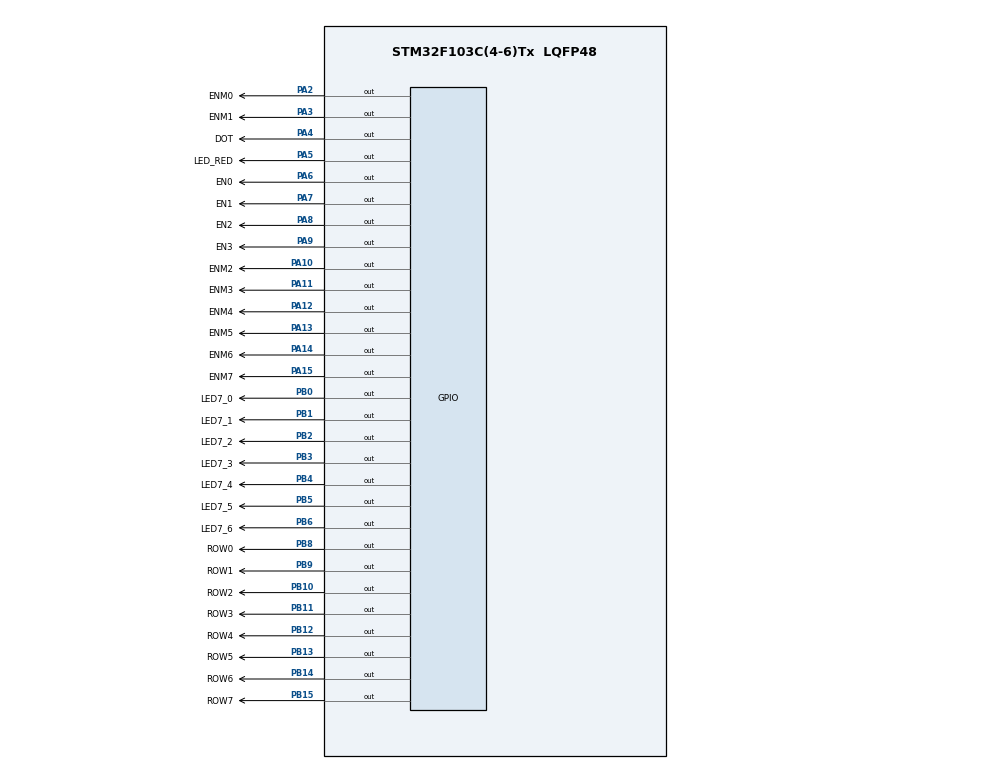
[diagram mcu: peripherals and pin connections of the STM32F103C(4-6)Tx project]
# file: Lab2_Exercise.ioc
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Mcu.Family=STM32F1
Mcu.Name=STM32F103C(4-6)Tx
Mcu.Package=LQFP48
NVIC.PriorityGroup=NVIC_PRIORITYGROUP_4
NVIC.TIM2_IRQn=true\:0\:0\:false\:false\:true\:true\:true\:true
PA10.GPIO_Label=ENM2
PA10.Signal=GPIO_Output
PA11.GPIO_Label=ENM3
PA11.Signal=GPIO_Output
PA12.GPIO_Label=ENM4
PA12.Signal=GPIO_Output
PA13.GPIO_Label=ENM5
PA13.Signal=GPIO_Output
PA14.GPIO_Label=ENM6
PA14.Signal=GPIO_Output
PA15.GPIO_Label=ENM7
PA15.Signal=GPIO_Output
PA2.GPIO_Label=ENM0
PA2.Signal=GPIO_Output
PA3.GPIO_Label=ENM1
PA3.Signal=GPIO_Output
PA4.GPIO_Label=DOT
PA4.Signal=GPIO_Output
PA5.GPIO_Label=LED_RED
PA5.Signal=GPIO_Output
PA6.GPIO_Label=EN0
PA6.Signal=GPIO_Output
PA7.GPIO_Label=EN1
PA7.Signal=GPIO_Output
PA8.GPIO_Label=EN2
PA8.Signal=GPIO_Output
PA9.GPIO_Label=EN3
PA9.Signal=GPIO_Output
PB0.GPIO_Label=LED7_0
PB0.Signal=GPIO_Output
PB1.GPIO_Label=LED7_1
PB1.Signal=GPIO_Output
PB10.GPIO_Label=ROW2
PB10.Signal=GPIO_Output
PB11.GPIO_Label=ROW3
PB11.Signal=GPIO_Output
PB12.GPIO_Label=ROW4
PB12.Signal=GPIO_Output
PB13.GPIO_Label=ROW5
PB13.Signal=GPIO_Output
PB14.GPIO_Label=ROW6
PB14.Signal=GPIO_Output
PB15.GPIO_Label=ROW7
PB15.Signal=GPIO_Output
PB2.GPIO_Label=LED7_2
PB2.Signal=GPIO_Output
PB3.GPIO_Label=LED7_3
PB3.Signal=GPIO_Output
PB4.GPIO_Label=LED7_4
PB4.Signal=GPIO_Output
PB5.GPIO_Label=LED7_5
PB5.Signal=GPIO_Output
PB6.GPIO_Label=LED7_6
PB6.Signal=GPIO_Output
PB8.GPIO_Label=ROW0
PB8.Signal=GPIO_Output
PB9.GPIO_Label=ROW1
PB9.Signal=GPIO_Output
ProjectManager.HeapSize=0x200
ProjectManager.StackSize=0x400
ProjectManager.TargetToolchain=STM32CubeIDE
RCC.APB1Freq_Value=8000000
RCC.APB2Freq_Value=8000000
TIM2.Period=9
TIM2.Prescaler=7999
VP_TIM2_VS_ClockSourceINT.Mode=Internal
board=custom

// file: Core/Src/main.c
/* USER CODE BEGIN Header */
/**
  ******************************************************************************
  * @file           : main.c
  * @brief          : Main program body
  ******************************************************************************
  * @attention
  *
  * Copyright (c) 2023 STMicroelectronics.
  * All rights reserved.
  *
  * This software is licensed under terms that can be found in the LICENSE file
  * in the root directory of this software component.
  * If no LICENSE file comes with this software, it is provided AS-IS.
  *
  ******************************************************************************
  */
/* USER CODE END Header */
#include "main.h"

/* USER CODE BEGIN Includes */
#define LED7_DURATION 25
#define DOT_DURATION 100

/* USER CODE END Includes */

TIM_HandleTypeDef htim2;

/* USER CODE BEGIN PV */
int led_test_counter = 100;
int led_test_flag = 0;
int dot_counter = DOT_DURATION;
int dot_flag = 0;
int scanning_counter = LED7_DURATION;
int scanning_flag = 0;
int led_enabled = 0;
int hour = 15, minute = 8, second = 50;

const int MAX_LED = 4;
int index_led = 0;
int led_buffer[4] = {6, 2, 8, 9};

const int MAX_LED_MATRIX = 8;
int index_led_matrix = 0;
uint8_t matrix_buffer[8] = {0x00, 0xfc, 0x12, 0x11, 0x1, 0x12, 0xfc, 0x00};
/* USER CODE END PV */

void SystemClock_Config(void);
static void MX_GPIO_Init(void);
static void MX_TIM2_Init(void);
/* USER CODE BEGIN PFP */
void display7SEG(int);
void update7SEG(int);
void updateClockBuffer();
void updateLEDMatrix(int index);
/* USER CODE END PFP */

/* USER CODE BEGIN 0 */
int timer0_counter = 0;
int timer0_flag = 0;
int TIMER_CYCLE = 10;

void setTimer0(int duration)
{
	timer0_counter = duration / TIMER_CYCLE;
	timer0_flag = 0;
}

void timer_run()
{
	if (timer0_counter > 0)
	{
		timer0_counter--;
		if (timer0_counter == 0) timer0_flag = 1;
	}
}

int timer_matrix_counter = 0;
int timer_matrix_flag = 0;
void setTimerMatrix(int duration)
{
	timer_matrix_counter = duration / TIMER_CYCLE;
	timer_matrix_flag = 0;
}

void timerMatrixRun()
{
	if (timer_matrix_counter > 0)
	{
		--timer_matrix_counter;
		if (timer_matrix_counter == 0) timer_matrix_flag = 1;
	}
}

int timer_shift_counter = 0;
int timer_shift_flag = 0;
void setTimerShift(int duration)
{
	timer_shift_counter = duration / TIMER_CYCLE;
	timer_shift_flag = 0;
}

void timerShiftRun()
{
	if (timer_shift_counter > 0)
	{
		--timer_shift_counter;
		if (timer_shift_counter == 0) timer_shift_flag = 1;
	}
}
/* USER CODE END 0 */

int main(void)
{

  /* MCU Configuration--------------------------------------------------------*/

  /* Reset of all peripherals, Initializes the Flash interface and the Systick. */
  HAL_Init();

  /* Configure the system clock */
  SystemClock_Config();

  /* Initialize all configured peripherals */
  MX_GPIO_Init();
  MX_TIM2_Init();
  /* USER CODE BEGIN 2 */
  HAL_TIM_Base_Start_IT(&htim2);
  /* USER CODE END 2 */

  /* Infinite loop */
  /* USER CODE BEGIN WHILE */
  setTimer0(1000);
  setTimerMatrix(100);
  setTimerShift(1600);
  updateClockBuffer();
  update7SEG(index_led);
  while (1)
  {
	if (timer_shift_flag == 1)
	{
		  int matrix_buffer7 = matrix_buffer[7];
		  for (int i = 6; i >= 0; --i)
		  {
			  matrix_buffer[i + 1] = matrix_buffer[i];
		  }
		  matrix_buffer[0] = matrix_buffer7;
		  setTimerShift(1600);
	}

	if (timer_matrix_flag == 1)
	{
		updateLEDMatrix(index_led_matrix);
		setTimerMatrix(100);
		++index_led_matrix;
		if (index_led_matrix >= MAX_LED_MATRIX)
		{
			index_led_matrix = 0;
		}
	}

	if (timer0_flag == 1)
	{
		++second;
		if (second >= 60)
		{
			second = 0;
			++minute;
		}
		if (minute >= 60)
		{
			minute = 0;
			++hour;
		}
		if (hour >= 24)
		{
			hour = 0;
		}
		updateClockBuffer();
		setTimer0(1000);
	}

	if (led_test_flag == 1)
	{
		led_test_flag = 0;
		led_test_counter = 100;
		HAL_GPIO_TogglePin(LED_RED_GPIO_Port, LED_RED_Pin);
	}

	if (dot_flag == 1)
	{
		dot_flag = 0;
		dot_counter = DOT_DURATION;
		HAL_GPIO_TogglePin(DOT_GPIO_Port, DOT_Pin);
	}

	if (scanning_flag == 1)
	{
		++index_led;
		if (index_led >= MAX_LED)
		{
			index_led = 0;
		}
		update7SEG(index_led);
		scanning_flag = 0;
		scanning_counter = LED7_DURATION;
	}
    /* USER CODE END WHILE */

  }
}

void SystemClock_Config(void)
{
  RCC_OscInitTypeDef RCC_OscInitStruct = {0};
  RCC_ClkInitTypeDef RCC_ClkInitStruct = {0};

  /** Initializes the RCC Oscillators according to the specified parameters
  * in the RCC_OscInitTypeDef structure.
  */
  RCC_OscInitStruct.OscillatorType = RCC_OSCILLATORTYPE_HSI;
  RCC_OscInitStruct.HSIState = RCC_HSI_ON;
  RCC_OscInitStruct.HSICalibrationValue = RCC_HSICALIBRATION_DEFAULT;
  RCC_OscInitStruct.PLL.PLLState = RCC_PLL_NONE;
  if (HAL_RCC_OscConfig(&RCC_OscInitStruct) != HAL_OK)
  {
    Error_Handler();
  }

  /** Initializes the CPU, AHB and APB buses clocks
  */
  RCC_ClkInitStruct.ClockType = RCC_CLOCKTYPE_HCLK|RCC_CLOCKTYPE_SYSCLK
                              |RCC_CLOCKTYPE_PCLK1|RCC_CLOCKTYPE_PCLK2;
  RCC_ClkInitStruct.SYSCLKSource = RCC_SYSCLKSOURCE_HSI;
  RCC_ClkInitStruct.AHBCLKDivider = RCC_SYSCLK_DIV1;
  RCC_ClkInitStruct.APB1CLKDivider = RCC_HCLK_DIV1;
  RCC_ClkInitStruct.APB2CLKDivider = RCC_HCLK_DIV1;

  if (HAL_RCC_ClockConfig(&RCC_ClkInitStruct, FLASH_LATENCY_0) != HAL_OK)
  {
    Error_Handler();
  }
}

static void MX_TIM2_Init(void)
{

  TIM_ClockConfigTypeDef sClockSourceConfig = {0};
  TIM_MasterConfigTypeDef sMasterConfig = {0};

  htim2.Instance = TIM2;
  htim2.Init.Prescaler = 7999;
  htim2.Init.CounterMode = TIM_COUNTERMODE_UP;
  htim2.Init.Period = 9;
  htim2.Init.ClockDivision = TIM_CLOCKDIVISION_DIV1;
  htim2.Init.AutoReloadPreload = TIM_AUTORELOAD_PRELOAD_DISABLE;
  if (HAL_TIM_Base_Init(&htim2) != HAL_OK)
  {
    Error_Handler();
  }
  sClockSourceConfig.ClockSource = TIM_CLOCKSOURCE_INTERNAL;
  if (HAL_TIM_ConfigClockSource(&htim2, &sClockSourceConfig) != HAL_OK)
  {
    Error_Handler();
  }
  sMasterConfig.MasterOutputTrigger = TIM_TRGO_RESET;
  sMasterConfig.MasterSlaveMode = TIM_MASTERSLAVEMODE_DISABLE;
  if (HAL_TIMEx_MasterConfigSynchronization(&htim2, &sMasterConfig) != HAL_OK)
  {
    Error_Handler();
  }

}

static void MX_GPIO_Init(void)
{
  GPIO_InitTypeDef GPIO_InitStruct = {0};

  /* GPIO Ports Clock Enable */
  __HAL_RCC_GPIOA_CLK_ENABLE();
  __HAL_RCC_GPIOB_CLK_ENABLE();

  /*Configure GPIO pin Output Level */
  HAL_GPIO_WritePin(GPIOA, ENM0_Pin|ENM1_Pin|DOT_Pin|LED_RED_Pin
                          |EN0_Pin|EN1_Pin|EN2_Pin|EN3_Pin
                          |ENM2_Pin|ENM3_Pin|ENM4_Pin|ENM5_Pin
                          |ENM6_Pin|ENM7_Pin, GPIO_PIN_RESET);

  /*Configure GPIO pin Output Level */
  HAL_GPIO_WritePin(GPIOB, LED7_0_Pin|LED7_1_Pin|LED7_2_Pin|ROW2_Pin
                          |ROW3_Pin|ROW4_Pin|ROW5_Pin|ROW6_Pin
                          |ROW7_Pin|LED7_3_Pin|LED7_4_Pin|LED7_5_Pin
                          |LED7_6_Pin|ROW0_Pin|ROW1_Pin, GPIO_PIN_RESET);

  /*Configure GPIO pins : ENM0_Pin ENM1_Pin DOT_Pin LED_RED_Pin
                           EN0_Pin EN1_Pin EN2_Pin EN3_Pin
                           ENM2_Pin ENM3_Pin ENM4_Pin ENM5_Pin
                           ENM6_Pin ENM7_Pin */
  GPIO_InitStruct.Pin = ENM0_Pin|ENM1_Pin|DOT_Pin|LED_RED_Pin
                          |EN0_Pin|EN1_Pin|EN2_Pin|EN3_Pin
                          |ENM2_Pin|ENM3_Pin|ENM4_Pin|ENM5_Pin
                          |ENM6_Pin|ENM7_Pin;
  GPIO_InitStruct.Mode = GPIO_MODE_OUTPUT_PP;
  GPIO_InitStruct.Pull = GPIO_NOPULL;
  GPIO_InitStruct.Speed = GPIO_SPEED_FREQ_LOW;
  HAL_GPIO_Init(GPIOA, &GPIO_InitStruct);

  /*Configure GPIO pins : LED7_0_Pin LED7_1_Pin LED7_2_Pin ROW2_Pin
                           ROW3_Pin ROW4_Pin ROW5_Pin ROW6_Pin
                           ROW7_Pin LED7_3_Pin LED7_4_Pin LED7_5_Pin
                           LED7_6_Pin ROW0_Pin ROW1_Pin */
  GPIO_InitStruct.Pin = LED7_0_Pin|LED7_1_Pin|LED7_2_Pin|ROW2_Pin
                          |ROW3_Pin|ROW4_Pin|ROW5_Pin|ROW6_Pin
                          |ROW7_Pin|LED7_3_Pin|LED7_4_Pin|LED7_5_Pin
                          |LED7_6_Pin|ROW0_Pin|ROW1_Pin;
  GPIO_InitStruct.Mode = GPIO_MODE_OUTPUT_PP;
  GPIO_InitStruct.Pull = GPIO_NOPULL;
  GPIO_InitStruct.Speed = GPIO_SPEED_FREQ_LOW;
  HAL_GPIO_Init(GPIOB, &GPIO_InitStruct);

}

/* USER CODE BEGIN 4 */
void updateClockBuffer()
{
	led_buffer[0] = hour / 10;
	led_buffer[1] = hour % 10;
	led_buffer[2] = minute / 10;
	led_buffer[3] = minute % 10;
}
void HAL_TIM_PeriodElapsedCallback ( TIM_HandleTypeDef * htim )
{
	timerShiftRun();
	timerMatrixRun();
	timer_run();

	--led_test_counter;
	if (led_test_counter <= 0)
	{
		led_test_flag = 1;
	}

	--dot_counter;
	if (dot_counter <= 0)
	{
		dot_flag = 1;
	}

	--scanning_counter;
	if (scanning_counter <= 0)
	{
		scanning_flag = 1;
	}
}

void display7SEG(int number)
{
	switch (number)
	{
	case 0:
		HAL_GPIO_WritePin(LED7_0_GPIO_Port, LED7_0_Pin, GPIO_PIN_RESET);
		HAL_GPIO_WritePin(LED7_1_GPIO_Port, LED7_1_Pin, GPIO_PIN_RESET);
		HAL_GPIO_WritePin(LED7_2_GPIO_Port, LED7_2_Pin, GPIO_PIN_RESET);
		HAL_GPIO_WritePin(LED7_3_GPIO_Port, LED7_3_Pin, GPIO_PIN_RESET);
		HAL_GPIO_WritePin(LED7_4_GPIO_Port, LED7_4_Pin, GPIO_PIN_RESET);
		HAL_GPIO_WritePin(LED7_5_GPIO_Port, LED7_5_Pin, GPIO_PIN_RESET);
		HAL_GPIO_WritePin(LED7_6_GPIO_Port, LED7_6_Pin, GPIO_PIN_SET);
		break;
	case 1:
		HAL_GPIO_WritePin(LED7_0_GPIO_Port, LED7_0_Pin, GPIO_PIN_SET);
		HAL_GPIO_WritePin(LED7_1_GPIO_Port, LED7_1_Pin, GPIO_PIN_RESET);
		HAL_GPIO_WritePin(LED7_2_GPIO_Port, LED7_2_Pin, GPIO_PIN_RESET);
		HAL_GPIO_WritePin(LED7_3_GPIO_Port, LED7_3_Pin, GPIO_PIN_SET);
		HAL_GPIO_WritePin(LED7_4_GPIO_Port, LED7_4_Pin, GPIO_PIN_SET);
		HAL_GPIO_WritePin(LED7_5_GPIO_Port, LED7_5_Pin, GPIO_PIN_SET);
		HAL_GPIO_WritePin(LED7_6_GPIO_Port, LED7_6_Pin, GPIO_PIN_SET);
		break;
	case 2:
		HAL_GPIO_WritePin(LED7_0_GPIO_Port, LED7_0_Pin, GPIO_PIN_RESET);
		HAL_GPIO_WritePin(LED7_1_GPIO_Port, LED7_1_Pin, GPIO_PIN_RESET);
		HAL_GPIO_WritePin(LED7_2_GPIO_Port, LED7_2_Pin, GPIO_PIN_SET);
		HAL_GPIO_WritePin(LED7_3_GPIO_Port, LED7_3_Pin, GPIO_PIN_RESET);
		HAL_GPIO_WritePin(LED7_4_GPIO_Port, LED7_4_Pin, GPIO_PIN_RESET);
		HAL_GPIO_WritePin(LED7_5_GPIO_Port, LED7_5_Pin, GPIO_PIN_SET);
		HAL_GPIO_WritePin(LED7_6_GPIO_Port, LED7_6_Pin, GPIO_PIN_RESET);
		break;
	case 3:
		HAL_GPIO_WritePin(LED7_0_GPIO_Port, LED7_0_Pin, GPIO_PIN_RESET);
		HAL_GPIO_WritePin(LED7_1_GPIO_Port, LED7_1_Pin, GPIO_PIN_RESET);
		HAL_GPIO_WritePin(LED7_2_GPIO_Port, LED7_2_Pin, GPIO_PIN_RESET);
		HAL_GPIO_WritePin(LED7_3_GPIO_Port, LED7_3_Pin, GPIO_PIN_RESET);
		HAL_GPIO_WritePin(LED7_4_GPIO_Port, LED7_4_Pin, GPIO_PIN_SET);
		HAL_GPIO_WritePin(LED7_5_GPIO_Port, LED7_5_Pin, GPIO_PIN_SET);
		HAL_GPIO_WritePin(LED7_6_GPIO_Port, LED7_6_Pin, GPIO_PIN_RESET);
		break;
	case 4:
		HAL_GPIO_WritePin(LED7_0_GPIO_Port, LED7_0_Pin, GPIO_PIN_SET);
		HAL_GPIO_WritePin(LED7_1_GPIO_Port, LED7_1_Pin, GPIO_PIN_RESET);
		HAL_GPIO_WritePin(LED7_2_GPIO_Port, LED7_2_Pin, GPIO_PIN_RESET);
		HAL_GPIO_WritePin(LED7_3_GPIO_Port, LED7_3_Pin, GPIO_PIN_SET);
		HAL_GPIO_WritePin(LED7_4_GPIO_Port, LED7_4_Pin, GPIO_PIN_SET);
		HAL_GPIO_WritePin(LED7_5_GPIO_Port, LED7_5_Pin, GPIO_PIN_RESET);
		HAL_GPIO_WritePin(LED7_6_GPIO_Port, LED7_6_Pin, GPIO_PIN_RESET);
		break;
	case 5:
		HAL_GPIO_WritePin(LED7_0_GPIO_Port, LED7_0_Pin, GPIO_PIN_RESET);
		HAL_GPIO_WritePin(LED7_1_GPIO_Port, LED7_1_Pin, GPIO_PIN_SET);
		HAL_GPIO_WritePin(LED7_2_GPIO_Port, LED7_2_Pin, GPIO_PIN_RESET);
		HAL_GPIO_WritePin(LED7_3_GPIO_Port, LED7_3_Pin, GPIO_PIN_RESET);
		HAL_GPIO_WritePin(LED7_4_GPIO_Port, LED7_4_Pin, GPIO_PIN_SET);
		HAL_GPIO_WritePin(LED7_5_GPIO_Port, LED7_5_Pin, GPIO_PIN_RESET);
		HAL_GPIO_WritePin(LED7_6_GPIO_Port, LED7_6_Pin, GPIO_PIN_RESET);
		break;
	case 6:
		HAL_GPIO_WritePin(LED7_0_GPIO_Port, LED7_0_Pin, GPIO_PIN_RESET);
		HAL_GPIO_WritePin(LED7_1_GPIO_Port, LED7_1_Pin, GPIO_PIN_SET);
		HAL_GPIO_WritePin(LED7_2_GPIO_Port, LED7_2_Pin, GPIO_PIN_RESET);
		HAL_GPIO_WritePin(LED7_3_GPIO_Port, LED7_3_Pin, GPIO_PIN_RESET);
		HAL_GPIO_WritePin(LED7_4_GPIO_Port, LED7_4_Pin, GPIO_PIN_RESET);
		HAL_GPIO_WritePin(LED7_5_GPIO_Port, LED7_5_Pin, GPIO_PIN_RESET);
		HAL_GPIO_WritePin(LED7_6_GPIO_Port, LED7_6_Pin, GPIO_PIN_RESET);
		break;
	case 7:
		HAL_GPIO_WritePin(LED7_0_GPIO_Port, LED7_0_Pin, GPIO_PIN_RESET);
		HAL_GPIO_WritePin(LED7_1_GPIO_Port, LED7_1_Pin, GPIO_PIN_RESET);
		HAL_GPIO_WritePin(LED7_2_GPIO_Port, LED7_2_Pin, GPIO_PIN_RESET);
		HAL_GPIO_WritePin(LED7_3_GPIO_Port, LED7_3_Pin, GPIO_PIN_SET);
		HAL_GPIO_WritePin(LED7_4_GPIO_Port, LED7_4_Pin, GPIO_PIN_SET);
		HAL_GPIO_WritePin(LED7_5_GPIO_Port, LED7_5_Pin, GPIO_PIN_SET);
		HAL_GPIO_WritePin(LED7_6_GPIO_Port, LED7_6_Pin, GPIO_PIN_SET);
		break;
	case 8:
		HAL_GPIO_WritePin(LED7_0_GPIO_Port, LED7_0_Pin, GPIO_PIN_RESET);
		HAL_GPIO_WritePin(LED7_1_GPIO_Port, LED7_1_Pin, GPIO_PIN_RESET);
		HAL_GPIO_WritePin(LED7_2_GPIO_Port, LED7_2_Pin, GPIO_PIN_RESET);
		HAL_GPIO_WritePin(LED7_3_GPIO_Port, LED7_3_Pin, GPIO_PIN_RESET);
		HAL_GPIO_WritePin(LED7_4_GPIO_Port, LED7_4_Pin, GPIO_PIN_RESET);
		HAL_GPIO_WritePin(LED7_5_GPIO_Port, LED7_5_Pin, GPIO_PIN_RESET);
		HAL_GPIO_WritePin(LED7_6_GPIO_Port, LED7_6_Pin, GPIO_PIN_RESET);
		break;
	case 9:
		HAL_GPIO_WritePin(LED7_0_GPIO_Port, LED7_0_Pin, GPIO_PIN_RESET);
		HAL_GPIO_WritePin(LED7_1_GPIO_Port, LED7_1_Pin, GPIO_PIN_RESET);
		HAL_GPIO_WritePin(LED7_2_GPIO_Port, LED7_2_Pin, GPIO_PIN_RESET);
		HAL_GPIO_WritePin(LED7_3_GPIO_Port, LED7_3_Pin, GPIO_PIN_RESET);
		HAL_GPIO_WritePin(LED7_4_GPIO_Port, LED7_4_Pin, GPIO_PIN_SET);
		HAL_GPIO_WritePin(LED7_5_GPIO_Port, LED7_5_Pin, GPIO_PIN_RESET);
		HAL_GPIO_WritePin(LED7_6_GPIO_Port, LED7_6_Pin, GPIO_PIN_RESET);
		break;
	}
}

void update7SEG(int index)
{
	switch (index)
	{
	case 0:
		display7SEG(led_buffer[index]);
		HAL_GPIO_WritePin(EN0_GPIO_Port, EN0_Pin, GPIO_PIN_RESET);
		HAL_GPIO_WritePin(EN1_GPIO_Port, EN1_Pin, GPIO_PIN_SET);
		HAL_GPIO_WritePin(EN2_GPIO_Port, EN2_Pin, GPIO_PIN_SET);
		HAL_GPIO_WritePin(EN3_GPIO_Port, EN3_Pin, GPIO_PIN_SET);
		break;
	case 1:
		display7SEG(led_buffer[index]);
		HAL_GPIO_WritePin(EN0_GPIO_Port, EN0_Pin, GPIO_PIN_SET);
		HAL_GPIO_WritePin(EN1_GPIO_Port, EN1_Pin, GPIO_PIN_RESET);
		HAL_GPIO_WritePin(EN2_GPIO_Port, EN2_Pin, GPIO_PIN_SET);
		HAL_GPIO_WritePin(EN3_GPIO_Port, EN3_Pin, GPIO_PIN_SET);
		break;
	case 2:
		display7SEG(led_buffer[index]);
		HAL_GPIO_WritePin(EN0_GPIO_Port, EN0_Pin, GPIO_PIN_SET);
		HAL_GPIO_WritePin(EN1_GPIO_Port, EN1_Pin, GPIO_PIN_SET);
		HAL_GPIO_WritePin(EN2_GPIO_Port, EN2_Pin, GPIO_PIN_RESET);
		HAL_GPIO_WritePin(EN3_GPIO_Port, EN3_Pin, GPIO_PIN_SET);
		break;
	case 3:
		display7SEG(led_buffer[index]);
		HAL_GPIO_WritePin(EN0_GPIO_Port, EN0_Pin, GPIO_PIN_SET);
		HAL_GPIO_WritePin(EN1_GPIO_Port, EN1_Pin, GPIO_PIN_SET);
		HAL_GPIO_WritePin(EN2_GPIO_Port, EN2_Pin, GPIO_PIN_SET);
		HAL_GPIO_WritePin(EN3_GPIO_Port, EN3_Pin, GPIO_PIN_RESET);
		break;
	default:
		break;
	}
}

void updateLEDMatrix(int index)
{
	HAL_GPIO_WritePin(ROW0_GPIO_Port, ROW0_Pin, ((matrix_buffer[index_led_matrix] >> 0) & 1) ? GPIO_PIN_RESET : GPIO_PIN_SET);
	HAL_GPIO_WritePin(ROW1_GPIO_Port, ROW1_Pin, ((matrix_buffer[index_led_matrix] >> 1) & 1) ? GPIO_PIN_RESET : GPIO_PIN_SET);
	HAL_GPIO_WritePin(ROW2_GPIO_Port, ROW2_Pin, ((matrix_buffer[index_led_matrix] >> 2) & 1) ? GPIO_PIN_RESET : GPIO_PIN_SET);
	HAL_GPIO_WritePin(ROW3_GPIO_Port, ROW3_Pin, ((matrix_buffer[index_led_matrix] >> 3) & 1) ? GPIO_PIN_RESET : GPIO_PIN_SET);
	HAL_GPIO_WritePin(ROW4_GPIO_Port, ROW4_Pin, ((matrix_buffer[index_led_matrix] >> 4) & 1) ? GPIO_PIN_RESET : GPIO_PIN_SET);
	HAL_GPIO_WritePin(ROW5_GPIO_Port, ROW5_Pin, ((matrix_buffer[index_led_matrix] >> 5) & 1) ? GPIO_PIN_RESET : GPIO_PIN_SET);
	HAL_GPIO_WritePin(ROW6_GPIO_Port, ROW6_Pin, ((matrix_buffer[index_led_matrix] >> 6) & 1) ? GPIO_PIN_RESET : GPIO_PIN_SET);
	HAL_GPIO_WritePin(ROW7_GPIO_Port, ROW7_Pin, ((matrix_buffer[index_led_matrix] >> 7) & 1) ? GPIO_PIN_RESET : GPIO_PIN_SET);

	switch (index_led_matrix)
	{
	case 0:
		HAL_GPIO_WritePin(ENM0_GPIO_Port, ENM0_Pin, GPIO_PIN_RESET);
		HAL_GPIO_WritePin(ENM1_GPIO_Port, ENM1_Pin, GPIO_PIN_SET);
		HAL_GPIO_WritePin(ENM2_GPIO_Port, ENM2_Pin, GPIO_PIN_SET);
		HAL_GPIO_WritePin(ENM3_GPIO_Port, ENM3_Pin, GPIO_PIN_SET);
		HAL_GPIO_WritePin(ENM4_GPIO_Port, ENM4_Pin, GPIO_PIN_SET);
		HAL_GPIO_WritePin(ENM5_GPIO_Port, ENM5_Pin, GPIO_PIN_SET);
		HAL_GPIO_WritePin(ENM6_GPIO_Port, ENM6_Pin, GPIO_PIN_SET);
		HAL_GPIO_WritePin(ENM7_GPIO_Port, ENM7_Pin, GPIO_PIN_SET);
		break;
	case 1:
		HAL_GPIO_WritePin(ENM0_GPIO_Port, ENM0_Pin, GPIO_PIN_SET);
		HAL_GPIO_WritePin(ENM1_GPIO_Port, ENM1_Pin, GPIO_PIN_RESET);
		HAL_GPIO_WritePin(ENM2_GPIO_Port, ENM2_Pin, GPIO_PIN_SET);
		HAL_GPIO_WritePin(ENM3_GPIO_Port, ENM3_Pin, GPIO_PIN_SET);
		HAL_GPIO_WritePin(ENM4_GPIO_Port, ENM4_Pin, GPIO_PIN_SET);
		HAL_GPIO_WritePin(ENM5_GPIO_Port, ENM5_Pin, GPIO_PIN_SET);
		HAL_GPIO_WritePin(ENM6_GPIO_Port, ENM6_Pin, GPIO_PIN_SET);
		HAL_GPIO_WritePin(ENM7_GPIO_Port, ENM7_Pin, GPIO_PIN_SET);
		break;
	case 2:
		HAL_GPIO_WritePin(ENM0_GPIO_Port, ENM0_Pin, GPIO_PIN_SET);
		HAL_GPIO_WritePin(ENM1_GPIO_Port, ENM1_Pin, GPIO_PIN_SET);
		HAL_GPIO_WritePin(ENM2_GPIO_Port, ENM2_Pin, GPIO_PIN_RESET);
		HAL_GPIO_WritePin(ENM3_GPIO_Port, ENM3_Pin, GPIO_PIN_SET);
		HAL_GPIO_WritePin(ENM4_GPIO_Port, ENM4_Pin, GPIO_PIN_SET);
		HAL_GPIO_WritePin(ENM5_GPIO_Port, ENM5_Pin, GPIO_PIN_SET);
		HAL_GPIO_WritePin(ENM6_GPIO_Port, ENM6_Pin, GPIO_PIN_SET);
		HAL_GPIO_WritePin(ENM7_GPIO_Port, ENM7_Pin, GPIO_PIN_SET);
		break;
	case 3:
		HAL_GPIO_WritePin(ENM0_GPIO_Port, ENM0_Pin, GPIO_PIN_SET);
		HAL_GPIO_WritePin(ENM1_GPIO_Port, ENM1_Pin, GPIO_PIN_SET);
		HAL_GPIO_WritePin(ENM2_GPIO_Port, ENM2_Pin, GPIO_PIN_SET);
		HAL_GPIO_WritePin(ENM3_GPIO_Port, ENM3_Pin, GPIO_PIN_RESET);
		HAL_GPIO_WritePin(ENM4_GPIO_Port, ENM4_Pin, GPIO_PIN_SET);
		HAL_GPIO_WritePin(ENM5_GPIO_Port, ENM5_Pin, GPIO_PIN_SET);
		HAL_GPIO_WritePin(ENM6_GPIO_Port, ENM6_Pin, GPIO_PIN_SET);
		HAL_GPIO_WritePin(ENM7_GPIO_Port, ENM7_Pin, GPIO_PIN_SET);
		break;
	case 4:
		HAL_GPIO_WritePin(ENM0_GPIO_Port, ENM0_Pin, GPIO_PIN_SET);
		HAL_GPIO_WritePin(ENM1_GPIO_Port, ENM1_Pin, GPIO_PIN_SET);
		HAL_GPIO_WritePin(ENM2_GPIO_Port, ENM2_Pin, GPIO_PIN_SET);
		HAL_GPIO_WritePin(ENM3_GPIO_Port, ENM3_Pin, GPIO_PIN_SET);
		HAL_GPIO_WritePin(ENM4_GPIO_Port, ENM4_Pin, GPIO_PIN_RESET);
		HAL_GPIO_WritePin(ENM5_GPIO_Port, ENM5_Pin, GPIO_PIN_SET);
		HAL_GPIO_WritePin(ENM6_GPIO_Port, ENM6_Pin, GPIO_PIN_SET);
		HAL_GPIO_WritePin(ENM7_GPIO_Port, ENM7_Pin, GPIO_PIN_SET);
		break;
	case 5:
		HAL_GPIO_WritePin(ENM0_GPIO_Port, ENM0_Pin, GPIO_PIN_SET);
		HAL_GPIO_WritePin(ENM1_GPIO_Port, ENM1_Pin, GPIO_PIN_SET);
		HAL_GPIO_WritePin(ENM2_GPIO_Port, ENM2_Pin, GPIO_PIN_SET);
		HAL_GPIO_WritePin(ENM3_GPIO_Port, ENM3_Pin, GPIO_PIN_SET);
		HAL_GPIO_WritePin(ENM4_GPIO_Port, ENM4_Pin, GPIO_PIN_SET);
		HAL_GPIO_WritePin(ENM5_GPIO_Port, ENM5_Pin, GPIO_PIN_RESET);
		HAL_GPIO_WritePin(ENM6_GPIO_Port, ENM6_Pin, GPIO_PIN_SET);
		HAL_GPIO_WritePin(ENM7_GPIO_Port, ENM7_Pin, GPIO_PIN_SET);
		break;
	case 6:
		HAL_GPIO_WritePin(ENM0_GPIO_Port, ENM0_Pin, GPIO_PIN_SET);
		HAL_GPIO_WritePin(ENM1_GPIO_Port, ENM1_Pin, GPIO_PIN_SET);
		HAL_GPIO_WritePin(ENM2_GPIO_Port, ENM2_Pin, GPIO_PIN_SET);
		HAL_GPIO_WritePin(ENM3_GPIO_Port, ENM3_Pin, GPIO_PIN_SET);
		HAL_GPIO_WritePin(ENM4_GPIO_Port, ENM4_Pin, GPIO_PIN_SET);
		HAL_GPIO_WritePin(ENM5_GPIO_Port, ENM5_Pin, GPIO_PIN_SET);
		HAL_GPIO_WritePin(ENM6_GPIO_Port, ENM6_Pin, GPIO_PIN_RESET);
		HAL_GPIO_WritePin(ENM7_GPIO_Port, ENM7_Pin, GPIO_PIN_SET);
		break;
	case 7:
		HAL_GPIO_WritePin(ENM0_GPIO_Port, ENM0_Pin, GPIO_PIN_SET);
		HAL_GPIO_WritePin(ENM1_GPIO_Port, ENM1_Pin, GPIO_PIN_SET);
		HAL_GPIO_WritePin(ENM2_GPIO_Port, ENM2_Pin, GPIO_PIN_SET);
		HAL_GPIO_WritePin(ENM3_GPIO_Port, ENM3_Pin, GPIO_PIN_SET);
		HAL_GPIO_WritePin(ENM4_GPIO_Port, ENM4_Pin, GPIO_PIN_SET);
		HAL_GPIO_WritePin(ENM5_GPIO_Port, ENM5_Pin, GPIO_PIN_SET);
		HAL_GPIO_WritePin(ENM6_GPIO_Port, ENM6_Pin, GPIO_PIN_SET);
		HAL_GPIO_WritePin(ENM7_GPIO_Port, ENM7_Pin, GPIO_PIN_RESET);
		break;
	}
}
/* USER CODE END 4 */

void Error_Handler(void)
{
  __disable_irq();
  while (1)
  {
  }
}
